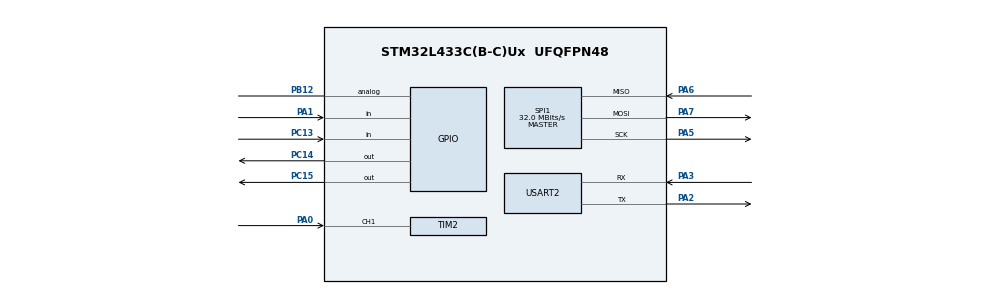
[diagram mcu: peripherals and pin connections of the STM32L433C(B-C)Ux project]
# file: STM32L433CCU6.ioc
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ADC1.Channel-0\#ChannelRegularConversion=ADC_CHANNEL_VREFINT
ADC1.NbrOfConversionFlag=1
ADC1.OffsetNumber-0\#ChannelRegularConversion=ADC_OFFSET_NONE
ADC1.Rank-0\#ChannelRegularConversion=1
ADC1.SamplingTime-0\#ChannelRegularConversion=ADC_SAMPLETIME_2CYCLES_5
ADC1.master=1
Mcu.Family=STM32L4
Mcu.Name=STM32L433C(B-C)Ux
Mcu.Package=UFQFPN48
NVIC.PriorityGroup=NVIC_PRIORITYGROUP_4
NVIC.TIM2_IRQn=true\:2\:0\:true\:true\:true\:1\:true\:true
NVIC.USART2_IRQn=true\:5\:0\:true\:true\:true\:2\:true\:true
PA0.Signal=S_TIM2_CH1
PA1.Signal=GPIO_Input
PA13\ (JTMS-SWDIO).Mode=Serial_Wire
PA13\ (JTMS-SWDIO).Signal=SYS_JTMS-SWDIO
PA14\ (JTCK-SWCLK).Mode=Serial_Wire
PA14\ (JTCK-SWCLK).Signal=SYS_JTCK-SWCLK
PA2.Mode=Asynchronous
PA2.Signal=USART2_TX
PA3.Mode=Asynchronous
PA3.Signal=USART2_RX
PA5.Mode=Full_Duplex_Master
PA5.Signal=SPI1_SCK
PA6.Mode=Full_Duplex_Master
PA6.Signal=SPI1_MISO
PA7.Mode=Full_Duplex_Master
PA7.Signal=SPI1_MOSI
PB12.Signal=GPIO_Analog
PC13.Signal=GPIO_Input
PC14-OSC32_IN\ (PC14).GPIO_ModeDefaultOutputPP=GPIO_MODE_OUTPUT_PP
PC14-OSC32_IN\ (PC14).GPIO_PuPd=GPIO_NOPULL
PC14-OSC32_IN\ (PC14).GPIO_Speed=GPIO_SPEED_FREQ_LOW
PC14-OSC32_IN\ (PC14).PinState=GPIO_PIN_RESET
PC14-OSC32_IN\ (PC14).Signal=GPIO_Output
PC15-OSC32_OUT\ (PC15).GPIO_ModeDefaultOutputPP=GPIO_MODE_OUTPUT_PP
PC15-OSC32_OUT\ (PC15).GPIO_PuPd=GPIO_NOPULL
PC15-OSC32_OUT\ (PC15).GPIO_Speed=GPIO_SPEED_FREQ_LOW
PC15-OSC32_OUT\ (PC15).PinState=GPIO_PIN_RESET
PC15-OSC32_OUT\ (PC15).Signal=GPIO_Output
ProjectManager.HeapSize=0x200
ProjectManager.StackSize=0x400
ProjectManager.TargetToolchain=STM32CubeIDE
RCC.ADCCLockSelection=RCC_ADCCLKSOURCE_SYSCLK
RCC.ADCFreq_Value=64000000
RCC.AHBFreq_Value=64000000
RCC.APB1Freq_Value=64000000
RCC.APB1TimFreq_Value=64000000
RCC.APB2Freq_Value=64000000
RCC.APB2TimFreq_Value=64000000
RCC.CortexFreq_Value=64000000
RCC.HCLKFreq_Value=64000000
RCC.HSE_VALUE=8000000
RCC.HSI48_VALUE=48000000
RCC.HSI_VALUE=16000000
RCC.LSE_VALUE=32768
RCC.MSI_VALUE=4000000
RCC.PLLSourceVirtual=RCC_PLLSOURCE_HSI
RCC.SYSCLKFreq_VALUE=64000000
RCC.SYSCLKSource=RCC_SYSCLKSOURCE_PLLCLK
RCC.USART2CLockSelection=RCC_USART2CLKSOURCE_SYSCLK
RCC.USBFreq_Value=64000000
RCC.VCOOutputFreq_Value=128000000
SH.S_TIM2_CH1.0=TIM2_CH1,Input_Capture1_from_TI1
SPI1.BaudRatePrescaler=SPI_BAUDRATEPRESCALER_2
SPI1.CalculateBaudRate=32.0 MBits/s
SPI1.Direction=SPI_DIRECTION_2LINES
SPI1.Mode=SPI_MODE_MASTER
SPI1.VirtualType=VM_MASTER
TIM2.Channel-Input_Capture1_from_TI1=TIM_CHANNEL_1
TIM2.Period=0xffff
TIM2.Prescaler=6400
USART2.VirtualMode-Asynchronous=VM_ASYNC
VP_ADC1_Vref_Input.Mode=IN-Vrefint
VP_TIM2_VS_ClockSourceINT.Mode=Internal
board=custom

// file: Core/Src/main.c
/* USER CODE BEGIN Header */
/**
  ******************************************************************************
  * @file           : main.c
  * @brief          : Main program body
  ******************************************************************************
  * @attention
  *
  * <h2><center>&copy; Copyright (c) 2020 STMicroelectronics.
  * All rights reserved.</center></h2>
  *
  * This software component is licensed by ST under BSD 3-Clause license,
  * the "License"; You may not use this file except in compliance with the
  * License. You may obtain a copy of the License at:
  *                        opensource.org/licenses/BSD-3-Clause
  *
  ******************************************************************************
  */
/* USER CODE END Header */

#include "main.h"
#include "stdio.h"
#include "stdarg.h"
#include "string.h"

/* USER CODE BEGIN PM */
__IO int16_t * buff_T; //  buff save counter 1cnt = 10^-4
__IO int16_t count_tmp = 0;
__IO int    save_index  = 0;
__IO int    send_index  = 0;
__IO int    buff_length = 0;
__IO int16_t flash_index = 0;
//__IO uint8_t first_measure_flag = 1;

__IO uint8_t run_flag         = 0;
__IO uint8_t error_flag         = 0;
__IO uint8_t ready_send_flag    = 0;
__IO uint8_t sending_flag       = 0;
__IO uint8_t measure_flag       = 0; // flag is 1 when system is measuring

float   time_log        = 0.0;  // Time tracking to save the Time of each Section, reset to 0 when buffer 's reseted
float   volume_ex       = 0.0;  // Volume logging of expiration
float   volume_ins      = 0.0;  // Volume logging of inspiration
float 	T_debug 		= 0.0;
float 	RPS_debug	=0.0;
float 	RPS_de	=0.0;

uint16_t RPS_send=0,flow_str,T_str;
uint8_t  buff_rec = 0;
uint8_t  check = 1;
uint8_t  check_of = 1;
volatile uint8_t R_data;

const float a1 = 0.2932;
const float a2 = 0.0844;
const float a3 = 0.0306;
const float a4 = 0.3542;

uint8_t cnt_out=0, cnt_in=0;
uint16_t buf_in[5]={0x14,0,0,0,0x13},buf_out[5]={0x15,0,0,0,0x13}, buf_Tin[5]={0x16,0,0,0,0x13}, buf_Tout[5]={0x17,0,0,0,0x13},buf_Start[3]={0x18,0xA5,0x13}, run=0x13;

/* USER CODE END PM */

UART_HandleTypeDef huart2;

void SystemClock_Config(void);
static void MX_GPIO_Init(void);
static void MX_ADC1_Init(void);
static void MX_SPI1_Init(void);
static void MX_TIM2_Init(void);
static void MX_USART2_UART_Init(void);
static void MX_NVIC_Init(void);
#ifndef INC_PRINTF_RETARGET_H_

int __io_putchar(int ch);
int _write(int file,char *ptr, int len);

#define INC_PRINTF_RETARGET_H_

#endif /* INC_PRINTF_RETARGET_H_ */

/* (Re)Define stdio functionality, so printf would output to USART1 */
int __io_putchar(int ch) {
 uint8_t c[1];
 c[0] = ch & 0x00FF;
 HAL_UART_Transmit(&huart2, &c[0], 1, 10);
 return ch;
}

int _write(int file,char *ptr, int len) {
 int DataIdx;
 for(DataIdx= 0; DataIdx< len; DataIdx++) {
  __io_putchar(*ptr++);
 }
 return len;
}

int main(void)
{

  /* MCU Configuration--------------------------------------------------------*/

  /* Reset of all peripherals, Initializes the Flash interface and the Systick. */
  HAL_Init();

  /* Configure the system clock */
  SystemClock_Config();

  /* Initialize all configured peripherals */
  MX_GPIO_Init();
  MX_ADC1_Init();
  MX_SPI1_Init();
  MX_TIM2_Init();
  MX_USART2_UART_Init();

  /* Initialize interrupts */
  MX_NVIC_Init();
  /* USER CODE BEGIN 2 */
//  HAL_UART_Receive_IT(&huart2, &R_data, 1);
//  while(!(R_data=='A'));
  LL_TIM_EnableCounter(TIM2);
  SET_BIT(TIM2->CCER,TIM_CCER_CC1E);
  SET_BIT(TIM2->DIER,TIM_DIER_CC1IE);
  //Start_Measure_Func();
  /* USER CODE END 2 */
  /* Infinite loop */
  /* USER CODE BEGIN WHILE */

  while (1)
  {
	  printf("Hello world");
	  LL_mDelay(10);
//	  while(check)
//	  	  	  {
//	  	  			while(!(R_data=='A'));
//	  	  				run_flag=1;
//	  	  				check = 0;
//	  	  				check_of = 1;
//	  	  				//USART_Write(USART2,&buf_Start[0],6);
//	  	  				HAL_UART_Transmit(&huart2, (uint8_t*)buf_Start, 6, 5);
//
//	  	  	  }
//	  	  	  	send_data();
//	  	  	  	if((TIM2->CNT>20000)&&(sending_flag==0))Reset_Buffer();
//	  	  	  	if((sending_flag==0)&&(R_data==0x69))
//	  	  	  	{
//	  	  	  			LL_TIM_DisableCounter(TIM2);
//	  	  	  			CLEAR_BIT(TIM2->CCER,TIM_CCER_CC1E);
//	  	  	  			CLEAR_BIT(TIM2->DIER,TIM_DIER_CC1IE);
//	  	  	  			check_of = 0;
//	  	  	  	}
//	  	  	  	else;
//	  	  	  	if((sending_flag==0)&&(R_data=='A'))
//	  	  	  	{
//	  	  	 		//USART_Write(USART2,&buf_Start[0],6);
//	  	  	  	  LL_TIM_EnableCounter(TIM2);
//	  	  	  	  SET_BIT(TIM2->CCER,TIM_CCER_CC1E);
//	  	  	  	  SET_BIT(TIM2->DIER,TIM_DIER_CC1IE);
//	  	  	  	}
//	  	  	  	if((check_of == 0)&&(R_data=='A'))
//	  	  	  		  	{
//	  	  	  				check = 1;
//	  	  	  		  	}
    /* USER CODE END WHILE */

  }
}

void SystemClock_Config(void)
{
  LL_FLASH_SetLatency(LL_FLASH_LATENCY_3);

  if(LL_FLASH_GetLatency() != LL_FLASH_LATENCY_3)
  {
  Error_Handler();
  }
  LL_PWR_SetRegulVoltageScaling(LL_PWR_REGU_VOLTAGE_SCALE1);
  LL_RCC_HSI_Enable();

   /* Wait till HSI is ready */
  while(LL_RCC_HSI_IsReady() != 1)
  {

  }
  LL_RCC_HSI_SetCalibTrimming(16);
  LL_RCC_PLL_ConfigDomain_SYS(LL_RCC_PLLSOURCE_HSI, LL_RCC_PLLM_DIV_1, 8, LL_RCC_PLLR_DIV_2);
  LL_RCC_PLL_EnableDomain_SYS();
  LL_RCC_PLL_Enable();

   /* Wait till PLL is ready */
  while(LL_RCC_PLL_IsReady() != 1)
  {

  }
  LL_RCC_SetSysClkSource(LL_RCC_SYS_CLKSOURCE_PLL);

   /* Wait till System clock is ready */
  while(LL_RCC_GetSysClkSource() != LL_RCC_SYS_CLKSOURCE_STATUS_PLL)
  {

  }
  LL_RCC_SetAHBPrescaler(LL_RCC_SYSCLK_DIV_1);
  LL_RCC_SetAPB1Prescaler(LL_RCC_APB1_DIV_1);
  LL_RCC_SetAPB2Prescaler(LL_RCC_APB2_DIV_1);
  LL_SetSystemCoreClock(64000000);

   /* Update the time base */
  if (HAL_InitTick (TICK_INT_PRIORITY) != HAL_OK)
  {
    Error_Handler();
  };
  LL_RCC_SetUSARTClockSource(LL_RCC_USART2_CLKSOURCE_SYSCLK);
  LL_RCC_SetADCClockSource(LL_RCC_ADC_CLKSOURCE_SYSCLK);
}

/**
  * @brief NVIC Configuration.
  * @retval None
  */
static void MX_NVIC_Init(void)
{
  /* TIM2_IRQn interrupt configuration */
  NVIC_SetPriority(TIM2_IRQn, NVIC_EncodePriority(NVIC_GetPriorityGrouping(),2, 0));
  NVIC_EnableIRQ(TIM2_IRQn);
  /* USART2_IRQn interrupt configuration */
  HAL_NVIC_SetPriority(USART2_IRQn, 5, 0);
  HAL_NVIC_EnableIRQ(USART2_IRQn);
}

static void MX_ADC1_Init(void)
{

  LL_ADC_InitTypeDef ADC_InitStruct = {0};
  LL_ADC_REG_InitTypeDef ADC_REG_InitStruct = {0};
  LL_ADC_CommonInitTypeDef ADC_CommonInitStruct = {0};

  /* Peripheral clock enable */
  LL_AHB2_GRP1_EnableClock(LL_AHB2_GRP1_PERIPH_ADC);

  /** Common config
  */
  ADC_InitStruct.Resolution = LL_ADC_RESOLUTION_12B;
  ADC_InitStruct.DataAlignment = LL_ADC_DATA_ALIGN_RIGHT;
  ADC_InitStruct.LowPowerMode = LL_ADC_LP_MODE_NONE;
  LL_ADC_Init(ADC1, &ADC_InitStruct);
  ADC_REG_InitStruct.TriggerSource = LL_ADC_REG_TRIG_SOFTWARE;
  ADC_REG_InitStruct.SequencerLength = LL_ADC_REG_SEQ_SCAN_DISABLE;
  ADC_REG_InitStruct.SequencerDiscont = LL_ADC_REG_SEQ_DISCONT_DISABLE;
  ADC_REG_InitStruct.ContinuousMode = LL_ADC_REG_CONV_SINGLE;
  ADC_REG_InitStruct.DMATransfer = LL_ADC_REG_DMA_TRANSFER_NONE;
  ADC_REG_InitStruct.Overrun = LL_ADC_REG_OVR_DATA_PRESERVED;
  LL_ADC_REG_Init(ADC1, &ADC_REG_InitStruct);
  LL_ADC_DisableIT_EOC(ADC1);
  LL_ADC_DisableIT_EOS(ADC1);
  LL_ADC_DisableDeepPowerDown(ADC1);
  LL_ADC_EnableInternalRegulator(ADC1);
  ADC_CommonInitStruct.CommonClock = LL_ADC_CLOCK_ASYNC_DIV1;
  LL_ADC_CommonInit(__LL_ADC_COMMON_INSTANCE(ADC1), &ADC_CommonInitStruct);
  /** Configure Regular Channel
  */
  LL_ADC_REG_SetSequencerRanks(ADC1, LL_ADC_REG_RANK_1, LL_ADC_CHANNEL_VREFINT);
  LL_ADC_SetChannelSamplingTime(ADC1, LL_ADC_CHANNEL_VREFINT, LL_ADC_SAMPLINGTIME_2CYCLES_5);
  LL_ADC_SetChannelSingleDiff(ADC1, LL_ADC_CHANNEL_VREFINT, LL_ADC_SINGLE_ENDED);
  LL_ADC_SetCommonPathInternalCh(__LL_ADC_COMMON_INSTANCE(ADC1), LL_ADC_PATH_INTERNAL_VREFINT);

}

static void MX_SPI1_Init(void)
{

  LL_SPI_InitTypeDef SPI_InitStruct = {0};

  LL_GPIO_InitTypeDef GPIO_InitStruct = {0};

  /* Peripheral clock enable */
  LL_APB2_GRP1_EnableClock(LL_APB2_GRP1_PERIPH_SPI1);

  LL_AHB2_GRP1_EnableClock(LL_AHB2_GRP1_PERIPH_GPIOA);
  /**SPI1 GPIO Configuration
  PA5   ------> SPI1_SCK
  PA6   ------> SPI1_MISO
  PA7   ------> SPI1_MOSI
  */
  GPIO_InitStruct.Pin = LL_GPIO_PIN_5|LL_GPIO_PIN_6|LL_GPIO_PIN_7;
  GPIO_InitStruct.Mode = LL_GPIO_MODE_ALTERNATE;
  GPIO_InitStruct.Speed = LL_GPIO_SPEED_FREQ_VERY_HIGH;
  GPIO_InitStruct.OutputType = LL_GPIO_OUTPUT_PUSHPULL;
  GPIO_InitStruct.Pull = LL_GPIO_PULL_NO;
  GPIO_InitStruct.Alternate = LL_GPIO_AF_5;
  LL_GPIO_Init(GPIOA, &GPIO_InitStruct);

  /* SPI1 parameter configuration*/
  SPI_InitStruct.TransferDirection = LL_SPI_FULL_DUPLEX;
  SPI_InitStruct.Mode = LL_SPI_MODE_MASTER;
  SPI_InitStruct.DataWidth = LL_SPI_DATAWIDTH_4BIT;
  SPI_InitStruct.ClockPolarity = LL_SPI_POLARITY_LOW;
  SPI_InitStruct.ClockPhase = LL_SPI_PHASE_1EDGE;
  SPI_InitStruct.NSS = LL_SPI_NSS_SOFT;
  SPI_InitStruct.BaudRate = LL_SPI_BAUDRATEPRESCALER_DIV2;
  SPI_InitStruct.BitOrder = LL_SPI_MSB_FIRST;
  SPI_InitStruct.CRCCalculation = LL_SPI_CRCCALCULATION_DISABLE;
  SPI_InitStruct.CRCPoly = 7;
  LL_SPI_Init(SPI1, &SPI_InitStruct);
  LL_SPI_SetStandard(SPI1, LL_SPI_PROTOCOL_MOTOROLA);
  LL_SPI_EnableNSSPulseMgt(SPI1);

}

static void MX_TIM2_Init(void)
{

  LL_TIM_InitTypeDef TIM_InitStruct = {0};

  LL_GPIO_InitTypeDef GPIO_InitStruct = {0};

  /* Peripheral clock enable */
  LL_APB1_GRP1_EnableClock(LL_APB1_GRP1_PERIPH_TIM2);

  LL_AHB2_GRP1_EnableClock(LL_AHB2_GRP1_PERIPH_GPIOA);
  /**TIM2 GPIO Configuration
  PA0   ------> TIM2_CH1
  */
  GPIO_InitStruct.Pin = LL_GPIO_PIN_0;
  GPIO_InitStruct.Mode = LL_GPIO_MODE_ALTERNATE;
  GPIO_InitStruct.Speed = LL_GPIO_SPEED_FREQ_LOW;
  GPIO_InitStruct.OutputType = LL_GPIO_OUTPUT_PUSHPULL;
  GPIO_InitStruct.Pull = LL_GPIO_PULL_NO;
  GPIO_InitStruct.Alternate = LL_GPIO_AF_1;
  LL_GPIO_Init(GPIOA, &GPIO_InitStruct);

  TIM_InitStruct.Prescaler = 6400;
  TIM_InitStruct.CounterMode = LL_TIM_COUNTERMODE_UP;
  TIM_InitStruct.Autoreload = 0xffff;
  TIM_InitStruct.ClockDivision = LL_TIM_CLOCKDIVISION_DIV1;
  LL_TIM_Init(TIM2, &TIM_InitStruct);
  LL_TIM_DisableARRPreload(TIM2);
  LL_TIM_SetClockSource(TIM2, LL_TIM_CLOCKSOURCE_INTERNAL);
  LL_TIM_SetTriggerOutput(TIM2, LL_TIM_TRGO_RESET);
  LL_TIM_DisableMasterSlaveMode(TIM2);
  LL_TIM_IC_SetActiveInput(TIM2, LL_TIM_CHANNEL_CH1, LL_TIM_ACTIVEINPUT_DIRECTTI);
  LL_TIM_IC_SetPrescaler(TIM2, LL_TIM_CHANNEL_CH1, LL_TIM_ICPSC_DIV1);
  LL_TIM_IC_SetFilter(TIM2, LL_TIM_CHANNEL_CH1, LL_TIM_IC_FILTER_FDIV1);
  LL_TIM_IC_SetPolarity(TIM2, LL_TIM_CHANNEL_CH1, LL_TIM_IC_POLARITY_RISING);

}

static void MX_USART2_UART_Init(void)
{

  huart2.Instance = USART2;
  huart2.Init.BaudRate = 115200;
  huart2.Init.WordLength = UART_WORDLENGTH_8B;
  huart2.Init.StopBits = UART_STOPBITS_1;
  huart2.Init.Parity = UART_PARITY_NONE;
  huart2.Init.Mode = UART_MODE_TX_RX;
  huart2.Init.HwFlowCtl = UART_HWCONTROL_NONE;
  huart2.Init.OverSampling = UART_OVERSAMPLING_16;
  huart2.Init.OneBitSampling = UART_ONE_BIT_SAMPLE_DISABLE;
  huart2.AdvancedInit.AdvFeatureInit = UART_ADVFEATURE_NO_INIT;
  if (HAL_UART_Init(&huart2) != HAL_OK)
  {
    Error_Handler();
  }

}

static void MX_GPIO_Init(void)
{
  LL_GPIO_InitTypeDef GPIO_InitStruct = {0};

  /* GPIO Ports Clock Enable */
  LL_AHB2_GRP1_EnableClock(LL_AHB2_GRP1_PERIPH_GPIOC);
  LL_AHB2_GRP1_EnableClock(LL_AHB2_GRP1_PERIPH_GPIOA);
  LL_AHB2_GRP1_EnableClock(LL_AHB2_GRP1_PERIPH_GPIOB);

  /**/
  LL_GPIO_ResetOutputPin(GPIOC, LL_GPIO_PIN_14|LL_GPIO_PIN_15);

  /**/
  GPIO_InitStruct.Pin = LL_GPIO_PIN_13;
  GPIO_InitStruct.Mode = LL_GPIO_MODE_INPUT;
  GPIO_InitStruct.Pull = LL_GPIO_PULL_NO;
  LL_GPIO_Init(GPIOC, &GPIO_InitStruct);

  /**/
  GPIO_InitStruct.Pin = LL_GPIO_PIN_14|LL_GPIO_PIN_15;
  GPIO_InitStruct.Mode = LL_GPIO_MODE_OUTPUT;
  GPIO_InitStruct.Speed = LL_GPIO_SPEED_FREQ_LOW;
  GPIO_InitStruct.OutputType = LL_GPIO_OUTPUT_PUSHPULL;
  GPIO_InitStruct.Pull = LL_GPIO_PULL_NO;
  LL_GPIO_Init(GPIOC, &GPIO_InitStruct);

  /**/
  GPIO_InitStruct.Pin = LL_GPIO_PIN_1;
  GPIO_InitStruct.Mode = LL_GPIO_MODE_INPUT;
  GPIO_InitStruct.Pull = LL_GPIO_PULL_NO;
  LL_GPIO_Init(GPIOA, &GPIO_InitStruct);

  /**/
  GPIO_InitStruct.Pin = LL_GPIO_PIN_12;
  GPIO_InitStruct.Mode = LL_GPIO_MODE_ANALOG;
  GPIO_InitStruct.Pull = LL_GPIO_PULL_NO;
  LL_GPIO_Init(GPIOB, &GPIO_InitStruct);

}

/* USER CODE BEGIN 4 */
void HAL_UART_RxCpltCallback(UART_HandleTypeDef *huart){
	if(huart->Instance==huart2.Instance){
		HAL_UART_Receive_IT(&huart2, &R_data, 1);
	}

}

float Caculate_Flow_Func(float t, float t_prev)
{
  float flow = 0.0, flow_tmp = 0.0;
  float b2=0.0, b3=0.0, b4=0.0, b4_2=0.0, b4_3=0.0, b5=0.0, b6=0.0;
  // Calculate the Flow
  if ((t_prev != 0) && (t != 0))
  {
    b2 = a2/t;
    b3 = (float)a3/sqrt(t);
    flow_tmp = a1 + b2 + b3;
    b4 = t - t_prev;
    if (b4<0) b4 = 0 - b4;
    b4_2 = t  *t_prev;
    b4_3 = b4/b4_2;
    b5 = a4*b4_3;
    b6 = b5 + 1;
    flow = flow_tmp * b6;
  }
  else flow = 0;
  return flow;
}

//*** Caculate the Volume of Spirometer ***//
float Caculate_Volume_Func(float t, float flow)
{
  return (t*flow);
}

/**
 * @brief  Reset the Buffer store Data
 * @note
 * @retval None
 */
void Reset_Buffer(void)
{
  // Serial.println("[INF] Sent ALL Data, Clear Buffer");
  Clear_Buffer();
  // Allocate the new Memory to Buffer
  buff_length = Length_buffer;
  //first_measure_flag = 1;
  buff_T      = (int16_t *) malloc(buff_length * sizeof(int16_t));

  if (buff_T == 0)
  {
    error_flag = 1;
  }
  // Reset the Time Period Log
  time_log = 0.0;
//  round_total_out = 0.0;
//  round_total_in  = 0.0;

}

/**
 * @brief
 * @note
 * @retval None
 */
void Clear_Buffer(void)
{
  // Reset the Index
  send_index = 0;
  save_index = 0;
  // Release the Memory which is allocated before
  free(buff_T);

}

/**
 * @brief
 * @note
 * @retval None
 */
void Reset_All(void)
{
  // Reset all Parameter
 // first_measure_flag  = 1;
  error_flag          = 0;
  ready_send_flag     = 0;
  sending_flag        = 0;
  measure_flag        = 0;
  time_log            = 0.0;
  Clear_Buffer();
//  round_total_out = 0.0;
//  round_total_in  = 0.0;
}

void send_data(void)
{
  if ((error_flag == 0) && (ready_send_flag == 1))
  {
    sending_flag = 1;
    if (send_index < save_index)
    {
      // Ready to send the Data via BLE or UART
      // Get the Data from Buffer

//    	RPS_debug = (float) *(buff_T + send_index);
//    	RPS_debug=fabs(RPS_debug)/10000;
//    	RPS_de=(1/(2*RPS_debug));
//    	RPS_send=(uint16_t)RPS_de;

    	float T = (float) *(buff_T + send_index);
		T =  T / freq;	//  pulse cycles in second
		T = fabs(T);
		float T_period = T;
		T_debug=T_period;
      // Check the first value in buffer, Not send Data because don't have the T_prev in buffer
      // So can't Caculate the Flow tos send Data

      if (send_index  != 0)
      {

		float T_prev = (float) *(buff_T + send_index - 1);
		T_prev =  T_prev / freq;	//  pulse cycles in second
		T_prev = fabs(T_prev);
        // Convert from Pulse Cycles to Round Cycles
        T       = T * pulse_per_round;      // in seconds
        T_prev  = T_prev * pulse_per_round; // in seconds

        // Caculate the Flow
        float flow    = Caculate_Flow_Func(T, T_prev);
        // Caculate the Volume
        float volume_log  = Caculate_Volume_Func(T_period,flow);
        // convert float to string
        flow_str = (uint16_t)(flow*1000);
        T_str=(uint16_t)(T_prev*1000);
      // Send Data via BLE
        if (*(buff_T + send_index) > 0) // data out
        {
        	cnt_out++;
        	//buf_out[cnt_out]=flow_str;
        	buf_out[cnt_out]=RPS_send;
        	buf_Tout[cnt_out]=T_str;
        	if(cnt_out>=3){
        		HAL_UART_Transmit(&huart2, (uint8_t*)buf_out, 10, 10);
        		HAL_UART_Transmit(&huart2, (uint8_t*)buf_Tout, 10, 10);
//        		USART_Write(USART2, &buf_out , 10);
//        		USART_Write(USART2, &buf_Tout , 10);
        		cnt_out=0;
        		LL_mDelay(20);
        	}
        	else;
        // Expiration process
        // Adding volume_log to volume_ex
          volume_ex += volume_log;
        // Reset volume_in to Zero
          volume_ins = 0;
        }
        else // data in
        {
        	cnt_in++;
        	//buf_in[cnt_in]=flow_str;
        	buf_in[cnt_in]=RPS_send;
        	buf_Tin[cnt_in]=T_str;
        	if(cnt_in>=3){
//        		USART_Write(USART2, &buf_in , 10);
//        		USART_Write(USART2, &buf_Tin, 10);
        		HAL_UART_Transmit(&huart2, (uint8_t*)buf_in, 10, 10);
        		HAL_UART_Transmit(&huart2, (uint8_t*)buf_Tin, 10, 10);
        		cnt_in=0;
        		LL_mDelay(20);
        	}
        // Inspiration process
        // Adding volume_log to volume_in
            volume_ins += volume_log;
        // Reset volume_ex to Zero
            volume_ex = 0;
        //Send Data to BLE
        }
      }
      else;
      // Increase the Send Index
      send_index++;
    }
    // Already Sent the All Data in Buffer
    else {
    	sending_flag = 0;
    	//Reset_Buffer();
    }

  }
  else;
}

void Start_Measure_Func(void)
{
  ready_send_flag     = 1;
  //measure_flag        = 1;
  //first_measure_flag  = 1;

  buff_length = Length_buffer;

  buff_T    = (int16_t*) malloc(buff_length * sizeof(int16_t));
  if (buff_T == 0 )
  {
    error_flag = 1;
  }
  else;
}

 /**
  * @brief  Stop Measurement when received the stop command
  * @note
  * @retval None
  */
void Stop_Measure_Func(void)
{
 Reset_All();
}
/* USER CODE END 4 */

void Error_Handler(void)
{
}

/************************ (C) COPYRIGHT STMicroelectronics *****END OF FILE****/
